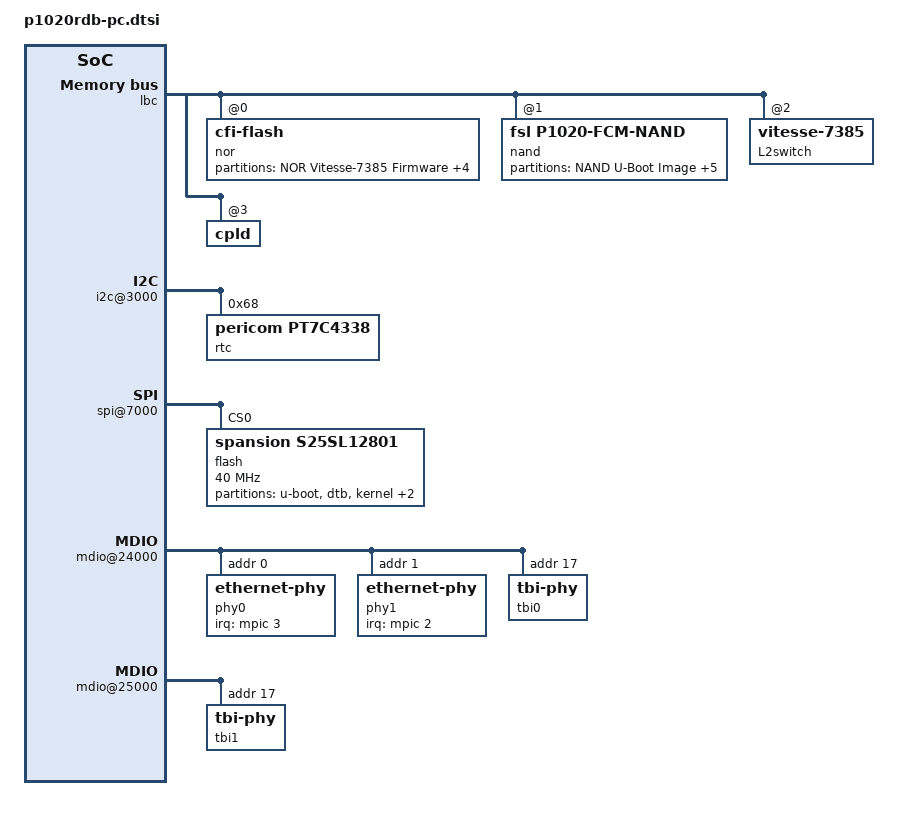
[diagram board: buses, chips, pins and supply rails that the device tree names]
/*
 * P1020 RDB-PC Device Tree Source stub (no addresses or top-level ranges)
 *
 * Copyright 2012 Freescale Semiconductor Inc.
 *
 * Redistribution and use in source and binary forms, with or without
 * modification, are permitted provided that the following conditions are met:
 *     * Redistributions of source code must retain the above copyright
 *       notice, this list of conditions and the following disclaimer.
 *     * Redistributions in binary form must reproduce the above copyright
 *       notice, this list of conditions and the following disclaimer in the
 *       documentation and/or other materials provided with the distribution.
 *     * Neither the name of Freescale Semiconductor nor the
 *       names of its contributors may be used to endorse or promote products
 *       derived from this software without specific prior written permission.
 *
 *
 * ALTERNATIVELY, this software may be distributed under the terms of the
 * GNU General Public License ("GPL") as published by the Free Software
 * Foundation, either version 2 of that License or (at your option) any
 * later version.
 *
 * THIS SOFTWARE IS PROVIDED BY Freescale Semiconductor ``AS IS'' AND ANY
 * EXPRESS OR IMPLIED WARRANTIES, INCLUDING, BUT NOT LIMITED TO, THE IMPLIED
 * WARRANTIES OF MERCHANTABILITY AND FITNESS FOR A PARTICULAR PURPOSE ARE
 * DISCLAIMED. IN NO EVENT SHALL Freescale Semiconductor BE LIABLE FOR ANY
 * DIRECT, INDIRECT, INCIDENTAL, SPECIAL, EXEMPLARY, OR CONSEQUENTIAL DAMAGES
 * (INCLUDING, BUT NOT LIMITED TO, PROCUREMENT OF SUBSTITUTE GOODS OR SERVICES;
 * LOSS OF USE, DATA, OR PROFITS; OR BUSINESS INTERRUPTION) HOWEVER CAUSED AND
 * ON ANY THEORY OF LIABILITY, WHETHER IN CONTRACT, STRICT LIABILITY, OR TORT
 * (INCLUDING NEGLIGENCE OR OTHERWISE) ARISING IN ANY WAY OUT OF THE USE OF THIS
 * SOFTWARE, EVEN IF ADVISED OF THE POSSIBILITY OF SUCH DAMAGE.
 */

&lbc {
	nor@0,0 {
		#address-cells = <1>;
		#size-cells = <1>;
		compatible = "cfi-flash";
		reg = <0x0 0x0 0x1000000>;
		bank-width = <2>;
		device-width = <1>;

		partition@0 {
			/* This location must not be altered  */
			/* 256KB for Vitesse 7385 Switch firmware */
			reg = <0x0 0x00040000>;
			label = "NOR Vitesse-7385 Firmware";
			read-only;
		};

		partition@40000 {
			/* 256KB for DTB Image */
			reg = <0x00040000 0x00040000>;
			label = "NOR DTB Image";
		};

		partition@80000 {
			/* 3.5 MB for Linux Kernel Image */
			reg = <0x00080000 0x00380000>;
			label = "NOR Linux Kernel Image";
		};

		partition@400000 {
			/* 11MB for JFFS2 based Root file System */
			reg = <0x00400000 0x00b00000>;
			label = "NOR JFFS2 Root File System";
		};

		partition@f00000 {
			/* This location must not be altered  */
			/* 512KB for u-boot Bootloader Image */
			/* 512KB for u-boot Environment Variables */
			reg = <0x00f00000 0x00100000>;
			label = "NOR U-Boot Image";
			read-only;
		};
	};

	nand@1,0 {
		#address-cells = <1>;
		#size-cells = <1>;
		compatible = "fsl,p1020-fcm-nand",
			     "fsl,elbc-fcm-nand";
		reg = <0x1 0x0 0x40000>;

		partition@0 {
			/* This location must not be altered  */
			/* 1MB for u-boot Bootloader Image */
			reg = <0x0 0x00100000>;
			label = "NAND U-Boot Image";
			read-only;
		};

		partition@100000 {
			/* 1MB for DTB Image */
			reg = <0x00100000 0x00100000>;
			label = "NAND DTB Image";
		};

		partition@200000 {
			/* 4MB for Linux Kernel Image */
			reg = <0x00200000 0x00400000>;
			label = "NAND Linux Kernel Image";
		};

		partition@600000 {
			/* 4MB for Compressed Root file System Image */
			reg = <0x00600000 0x00400000>;
			label = "NAND Compressed RFS Image";
		};

		partition@a00000 {
			/* 7MB for JFFS2 based Root file System */
			reg = <0x00a00000 0x00700000>;
			label = "NAND JFFS2 Root File System";
		};

		partition@1100000 {
			/* 15MB for JFFS2 based Root file System */
			reg = <0x01100000 0x00f00000>;
			label = "NAND Writable User area";
		};
	};

	L2switch@2,0 {
		#address-cells = <1>;
		#size-cells = <1>;
		compatible = "vitesse-7385";
		reg = <0x2 0x0 0x20000>;
	};

	cpld@3,0 {
		#address-cells = <1>;
		#size-cells = <1>;
		compatible = "cpld";
		reg = <0x3 0x0 0x20000>;
		read-only;
	};
};

&soc {
	i2c@3000 {
		rtc@68 {
			compatible = "pericom,pt7c4338";
			reg = <0x68>;
		};
	};

	spi@7000 {
		flash@0 {
			#address-cells = <1>;
			#size-cells = <1>;
			compatible = "spansion,s25sl12801";
			reg = <0>;
			spi-max-frequency = <40000000>; /* input clock */

			partition@u-boot {
				/* 512KB for u-boot Bootloader Image */
				reg = <0x0 0x00080000>;
				label = "u-boot";
				read-only;
			};

			partition@dtb {
				/* 512KB for DTB Image*/
				reg = <0x00080000 0x00080000>;
				label = "dtb";
			};

			partition@kernel {
				/* 4MB for Linux Kernel Image */
				reg = <0x00100000 0x00400000>;
				label = "kernel";
			};

			partition@fs {
				/* 4MB for Compressed RFS Image */
				reg = <0x00500000 0x00400000>;
				label = "file system";
			};

			partition@jffs-fs {
				/* 7MB for JFFS2 based RFS */
				reg = <0x00900000 0x00700000>;
				label = "file system jffs2";
			};
		};
	};

	usb@22000 {
		phy_type = "ulpi";
	};

	/* USB2 is shared with localbus, so it must be disabled
	   by default. We can't put 'status = "disabled";' here
	   since U-Boot doesn't clear the status property when
	   it enables USB2. OTOH, U-Boot does create a new node
	   when there isn't any. So, just comment it out.
	usb@23000 {
		phy_type = "ulpi";
	};
	*/

	mdio@24000 {
		phy0: ethernet-phy@0 {
			interrupt-parent = <&mpic>;
			interrupts = <3 1>;
			reg = <0x0>;
		};

		phy1: ethernet-phy@1 {
			interrupt-parent = <&mpic>;
			interrupts = <2 1>;
			reg = <0x1>;
		};

		tbi0: tbi-phy@11 {
			device_type = "tbi-phy";
			reg = <0x11>;
		};
	};

	mdio@25000 {
		tbi1: tbi-phy@11 {
			reg = <0x11>;
			device_type = "tbi-phy";
		};
	};

	enet0: ethernet@b0000 {
		fixed-link = <1 1 1000 0 0>;
		phy-connection-type = "rgmii-id";

	};

	enet1: ethernet@b1000 {
		phy-handle = <&phy0>;
		tbi-handle = <&tbi1>;
		phy-connection-type = "sgmii";
	};

	enet2: ethernet@b2000 {
		phy-handle = <&phy1>;
		phy-connection-type = "rgmii-id";
	};
};
